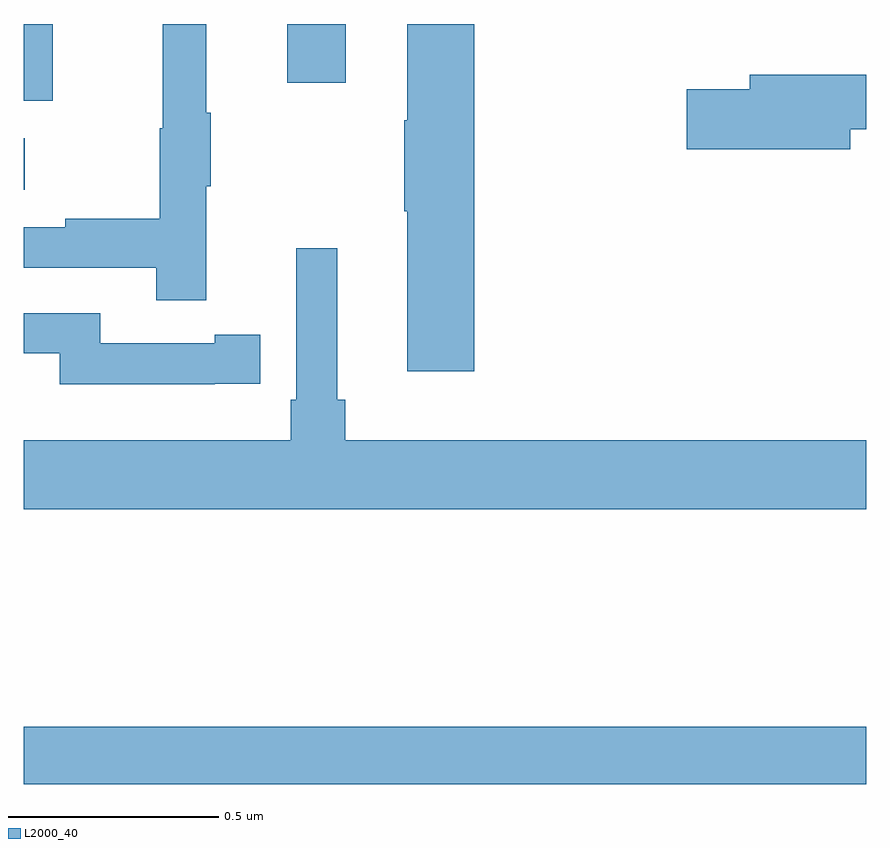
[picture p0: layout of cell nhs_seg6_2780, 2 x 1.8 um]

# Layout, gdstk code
import gdstk
lib = gdstk.Library(unit=1e-6, precision=1e-09)
def R(c, l, rs):  # rectangles x0, y0, x1, y1
    for r in rs: c.add(gdstk.rectangle(r[:2], r[2:], *l))
def P(c, l, *ps):  # polygons
    for p in ps: c.add(gdstk.Polygon(p, *l))
L2000_40 = (2000, 40)

nhs_seg6_2780 = lib.new_cell('nhs_seg6_2780')
R(nhs_seg6_2780, L2000_40, [(148,934.696,150,934.832), (148,936.107,148.003,936.229), (148,936.318,148.069,936.5), (148.625,936.36,148.765,936.5)])
P(nhs_seg6_2780, L2000_40, [(149.069,936.5),(148.91,936.5),(148.91,936.272),(148.903,936.272),(148.903,936.055),(148.91,936.055),(148.91,935.676),(149.069,935.676)],
  [(148.433,936.115),(148.444,936.115),(148.444,936.289),(148.433,936.289),(148.433,936.5),(148.33,936.5),(148.33,936.252),(148.323,936.252),(148.323,936.038),(148.099,936.038),(148.099,936.018),(148,936.018),(148,935.922),(148.315,935.922),(148.315,935.844),(148.433,935.844)],
  [(149.962,936.25),(150,936.25),(150,936.379),(149.723,936.379),(149.723,936.345),(149.574,936.345),(149.574,936.203),(149.962,936.203)],
  [(150,935.512),(148.763,935.512),(148.763,935.608),(148.744,935.608),(148.744,935.968),(148.647,935.968),(148.647,935.608),(148.634,935.608),(148.634,935.512),(148,935.512),(148,935.348),(150,935.348)],
  [(148.454,935.646),(148.562,935.646),(148.562,935.762),(148.454,935.762),(148.454,935.742),(148.182,935.742),(148.182,935.814),(148,935.814),(148,935.718),(148.086,935.718),(148.086,935.645),(148.454,935.645)])

lib.write_gds('nhs_seg6_2780.gds')
